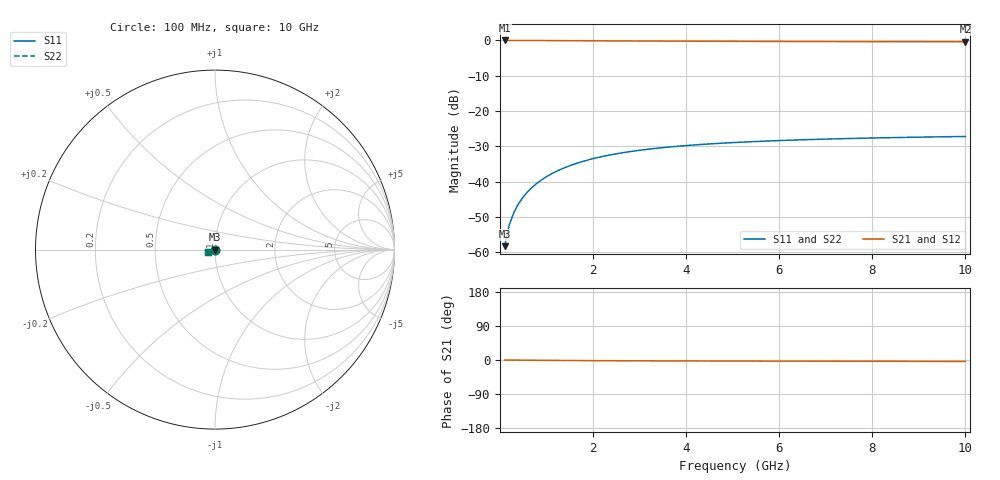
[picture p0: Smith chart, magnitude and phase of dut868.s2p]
! Touchstone file exported from HFSS 2024.1.0
!  File:  C:/UserFiles/LocalFiles/RDL_TSV_Batchsim/temp_TSV1_868_1779882480.aedt
!  Generated:  07:53:44 PM May 27, 2026
!  Design:  TSV1
!  Project:  temp_TSV1_868_1779882480
!  Setup:  Setup1
!  Solution:  Sweep
! Variables:
!  dtsv = 13.74um
!  hbump = 3um
!  htsv = 55.82um
!  lrdl = 252.1521522um
!  p = 40
!  p1 = 46.81um
!  t = 500um
!  trdl = 3um
!  wrdl = 24.89489489um
# GHz S MA R 50.000000
! Terminal data exported
! Port[1] = TSV22_T1
! Port[2] = TSV22_T2
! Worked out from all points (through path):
!   100 points, 100 MHz to 10 GHz, reference 50 ohm
!   highest |S21| = 0.00 dB at 100 MHz (marker M1); lowest = -0.4 dB at 10 GHz (marker M2)
!   lowest |S11| = -58.3 dB at 100 MHz (marker M3), VSWR 1.00, Z = 50 - j0.121 ohm
!   |S11| at or under -10 dB: start of sweep to end of sweep
!   |S22| runs from -58.3 to -27.2 dB; largest |S21 - S12| = 3e-15
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0.1  0.001211 -88.3  0.9999 -0.1  0.9999 -0.1  0.001211 -88.3
! Gamma 0 0 0 0
! Port Impedance 50 0 50 0
0.2  0.002432 -91.7  0.9998 -0.2  0.9998 -0.2  0.002432 -91.7
0.3  0.003644 -93.8  0.9996 -0.3  0.9996 -0.3  0.003644 -93.8
0.4  0.004846 -95.7  0.9993 -0.4  0.9993 -0.4  0.004846 -95.7
0.5  0.006036 -97.5  0.999 -0.5  0.999 -0.5  0.006036 -97.5
0.6  0.00721 -99.2  0.9987 -0.6  0.9987 -0.6  0.00721 -99.2
0.7  0.008366 -100.8  0.9982 -0.7  0.9982 -0.7  0.008366 -100.8
0.8  0.009503 -102.4  0.9977 -0.8  0.9977 -0.8  0.009503 -102.4
0.9  0.01062 -104.0  0.9972 -0.9  0.9972 -0.9  0.01062 -104.0
1.1  0.01277 -107.0  0.996 -1.0  0.996 -1.0  0.01277 -107.0
1.4  0.0158 -111.3  0.994 -1.3  0.994 -1.3  0.0158 -111.3
1.6  0.01768 -114.0  0.9925 -1.4  0.9925 -1.4  0.01768 -114.0
1.8  0.01944 -116.6  0.991 -1.5  0.991 -1.5  0.01944 -116.6
2.1  0.02186 -120.2  0.9888 -1.7  0.9888 -1.7  0.02186 -120.2
2.5  0.0247 -124.5  0.9858 -1.9  0.9858 -1.9  0.0247 -124.5
2.9  0.02716 -128.4  0.983 -2.1  0.983 -2.1  0.02716 -128.4
3.4  0.02976 -132.6  0.9798 -2.3  0.9798 -2.3  0.02976 -132.6
4.2  0.03306 -138.2  0.9753 -2.5  0.9753 -2.5  0.03306 -138.2
5.1  0.03588 -143.3  0.9711 -2.8  0.9711 -2.8  0.03588 -143.3
6.7  0.0394 -150.1  0.9656 -3.1  0.9656 -3.1  0.0394 -150.1
8.4  0.04188 -155.5  0.9616 -3.5  0.9616 -3.5  0.04188 -155.5
10  0.04349 -159.5  0.9589 -3.8  0.9589 -3.8  0.04349 -159.5
